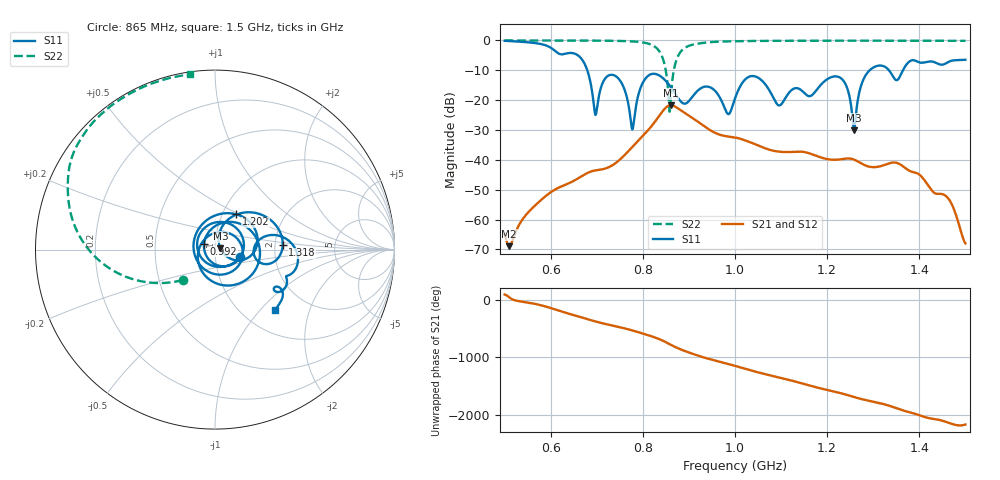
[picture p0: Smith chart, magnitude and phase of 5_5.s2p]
! TOUCHSTONE file generated by CST MICROWAVE STUDIO
! Date and time: Mon Nov 30 08:40:07 2020
! Project name: Scenario_1_Planar_Body_Tissue_Out_of_Line.cst
! Parameters = {dy1=-276.8; L_HA=400; Ltissue=700; MT=2.54; Rad_Dielectric=30; Rad_Lower=7.3; Rad_Upper=30; Wtissue=700; a_HA=580; a_WG=246; b_HA=500; b_WG=121; c_HA=0; c_WG=187; d_feed=85; dx1=866; h_feed=15; h_lower=18; h_upper=40; hfat=3; hgap=25; hmuscle=50; hskin=1.5}
! Header version: 2018
! Port assignment regex: !\s*Touchstone port\s*([0-9]+)\s*=\s*(CST MWS port|CST DS port)\s*([0-9]+|Zmin|Zmax)\s*\(\"(.*)\"\)(\s*mode\s*([0-9]+))?.*
! Touchstone port assignment:
! Touchstone port 1 = CST MWS port 1 ("")
! Touchstone port 2 = CST MWS port 2 ("")
# GHz S DB R 50
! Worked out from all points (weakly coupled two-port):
!   1003 points, 500 MHz to 1.5 GHz, reference 50 ohm
!   highest |S21| = -21.72 dB at 861 MHz (marker M1); lowest = -68.9 dB at 510 MHz (marker M2)
!   lowest |S11| = -30.1 dB at 1.258 GHz (marker M3), VSWR 1.06, Z = 53.1 + j0.771 ohm
!   |S11| at or under -10 dB: 679.4 MHz to 1.292 GHz (612.8 MHz wide, 62.2 % of centre); 1.334 GHz to 1.365 GHz (30.39 MHz wide, 2.25 % of centre)
!   |S22| runs from -23.9 to 0.0 dB; largest |S21 - S12| = 1e-05
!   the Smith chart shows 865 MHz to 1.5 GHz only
!   S11 on the Smith chart (normalised r, x): 865 MHz: 1.33, -0.11; 992 MHz: 0.88, +0.06; 1.202 GHz: 1.16, +0.48; 1.318 GHz: 2.21, +0.12; 1.5 GHz: 1.40, -1.21
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0.5  -0.12 -122.1  -64.89 88.7  -64.89 88.7  -0.01 151.2
0.51  -0.20 -126.2  -68.93 41.5  -68.91 41.5  -0.01 150.5
0.585  -1.44 -168.0  -52.68 -110.3  -52.68 -110.3  -0.02 145.3
0.667  -6.19 125.1  -45.50 53.2  -45.50 53.2  -0.04 138.4
0.697  -24.95 135.4  -43.55 -18.5  -43.55 -18.5  -0.06 135.2
0.737  -11.64 140.0  -41.52 -95.1  -41.52 -95.1  -0.13 129.8
0.777  -29.79 136.1  -35.73 -174.4  -35.73 -174.4  -0.32 121.3
0.834  -11.60 75.7  -25.61 39.3  -25.61 39.3  -3.26 84.5
0.861  -15.71 -3.0  -21.72 -65.9  -21.72 -65.9  -18.61 -110.2
0.865  -16.60 -16.2  -21.82 -82.5  -21.82 -82.5  -12.14 -136.6
0.897  -20.75 -164.6  -24.92 169.9  -24.92 169.9  -2.00 170.2
0.992  -23.15 151.2  -32.33 -52.8  -32.33 -52.8  -0.29 141.3
1  -19.45 107.4  -32.51 -71.2  -32.51 -71.2  -0.27 140.2
1.167  -18.34 171.7  -38.13 -64.1  -38.13 -64.1  -0.10 124.2
1.202  -12.81 59.3  -39.81 -133.1  -39.81 -133.1  -0.09 121.5
1.237  -13.87 -9.6  -39.65 158.3  -39.65 158.3  -0.08 118.8
1.258  -30.10 13.4  -39.91 107.7  -39.91 107.7  -0.09 117.3
1.281  -12.36 56.2  -41.76 59.4  -41.76 59.4  -0.08 115.6
1.318  -8.44 3.7  -42.04 -5.9  -42.04 -5.9  -0.08 112.7
1.334  -9.98 -14.2  -41.21 -41.5  -41.21 -41.5  -0.09 111.5
1.46  -7.48 -30.5  -52.44 29.9  -52.44 29.9  -0.11 101.5
1.5  -6.47 -45.0  -67.99 -10.5  -67.99 -10.5  -0.13 98.0
